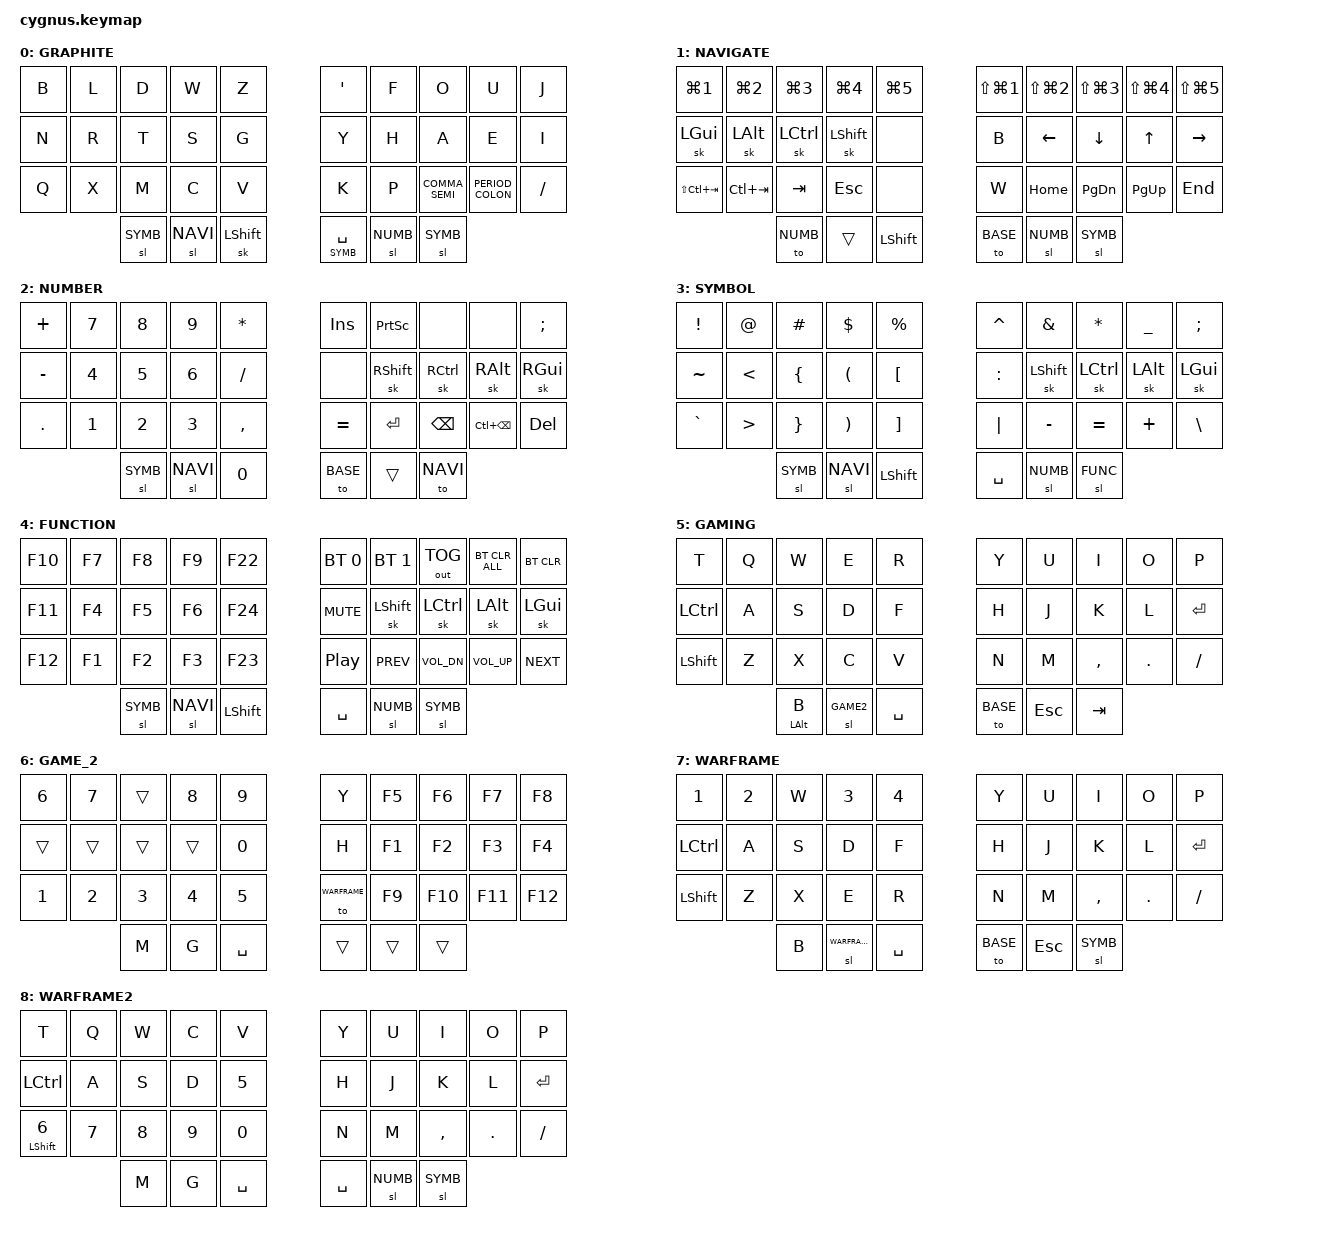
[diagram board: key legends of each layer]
#include <dt-bindings/zmk/behaviors.h>
#include <behaviors.dtsi>
#include <dt-bindings/zmk/keys.h>
#include <dt-bindings/zmk/bt.h>
#include <dt-bindings/zmk/outputs.h>

#define BASE 0
#define NAVI 1
#define NUMB 2
#define SYMB 3
#define FUNC 4
#define GAME 5 
#define GAME2 6
#define WARFRAME 7
#define WARFRAME2 8 

  // key posiitons 
  //  |    0   1   2   3   4     |   |    5   6  7   8   9  |
  //  |    10  11  12  13  14    |   |    15  16 17  18  19 |
  //  |    20  21  22  23  24    |   |    25  26 27  28  29 |
  //  |            30  31  32    |   |    33  34 35         |

/ {
 behaviors {

    COMMA_SEMI: comma_semicolon_morph {
      compatible = "zmk,behavior-mod-morph";
      #binding-cells = <0>;
      bindings = <&kp COMMA>, <&kp SEMI>;
      mods = <(MOD_LSFT|MOD_RSFT)>;
    };

    PERIOD_COLON: period_colon_morph {
      compatible = "zmk,behavior-mod-morph";
      #binding-cells = <0>;
      bindings = <&kp DOT>, <&kp COLON>;
      mods = <(MOD_LSFT|MOD_RSFT)>;
    };

  };
  

  combos {
    compatible = "zmk,combos";
      //HORIZANTAL COMBOS

    combo_reset {
      timeout-ms = <150>;
      key-positions = <0 9>;
      bindings = <&sys_reset>;
    };

    combo_bootloader {
      timeout-ms = <150>;
      key-positions = <20 29>;
      bindings = <&bootloader>;
    };

    combo_tab {
      timeout-ms = <50>;
      key-positions = <21 22>;
      bindings = <&kp TAB>;
    };

    combo_esc {
      timeout-ms = <50>;
      key-positions = <22 23>;
      bindings = <&kp ESC>;
    };

    combo_backspace {
      timeout-ms = <50>;
      key-positions = <27 28>;
      bindings = <&kp BSPC>;
    };

    combo_enter {
      timeout-ms = <50>;
      key-positions = <26 27>;
      bindings = <&kp ENTER>;
    };

    combo_semi {
      timeout-ms = <50>;
      key-positions = <26 27 28>;
      bindings = <&kp SEMI>;
    };

    combo_game {
      timeout-ms = <100>;
      key-positions = <24 25>;
      bindings = <&tog GAME>;
    };

    combo_capsword {
      timeout-ms = <100>;
      key-positions = <23 26>;
      bindings = <&caps_word>;
    };


  };

  keymap {
    compatible = "zmk,keymap";

    base_layer {
      display-name = "GRAPHITE";
      bindings = <
        &kp B  &kp L  &kp D  &kp W  &kp Z                &kp APOS  &kp F  &kp O      &kp U    &kp J
        &kp N  &kp R  &kp T  &kp S  &kp G                &kp Y     &kp H  &kp A      &kp E    &kp I 
        &kp Q  &kp X  &kp M  &kp C  &kp V                &kp K     &kp P  &COMMA_SEMI  &PERIOD_COLON  &kp SLASH   
                      &sl SYMB  &sl NAVI &sk LSHIFT    &lt SYMB SPACE  &sl NUMB  &sl SYMB
      >;
    };

    navi_layer {
      display-name = "NAVIGATE";
      bindings = <
        &kp LG(N1) &kp LG(N2) &kp LG(N3) &kp LG(N4) &kp LG(N5)       &kp LS(LG(N1)) &kp LS(LG(N2)) &kp LS(LG(N3)) &kp LS(LG(N4))  &kp LS(LG(N5))
        &sk LGUI  &sk LALT  &sk LCTRL  &sk LSHIFT   &none            &kp B     &kp LEFT  &kp DOWN  &kp UP     &kp RIGHT 
        &kp LS(LC(TAB)) &kp LC(TAB) &kp TAB &kp ESC &none            &kp W     &kp HOME  &kp PG_DN &kp PG_UP  &kp END   
                                &to NUMB  &trans   &kp LSHIFT    &to BASE  &sl NUMB  &sl SYMB
      >;
    };


    numb_layer {
      display-name = "NUMBER";
      bindings = <
        &kp PLUS  &kp N7  &kp N8  &kp N9  &kp STAR             &kp INSERT &kp PSCRN      &none     &none     &kp SEMI  
        &kp MINUS &kp N4  &kp N5  &kp N6  &kp SLASH            &none     &sk RSHIFT &sk RCTRL &sk RALT  &sk RGUI  
        &kp DOT   &kp N1  &kp N2  &kp N3  &kp COMMA            &kp EQUAL &kp ENTER  &kp BSPC  &kp LC(BSPC)  &kp DEL
                          &sl SYMB  &sl NAVI  &kp N0        &to BASE  &trans  &to NAVI
      >;
    };


    symb_layer {
      display-name = "SYMBOL";
     bindings = <
        &kp EXCL  &kp AT &kp HASH &kp DLLR &kp PERCENT             &kp CARET  &kp AMPS    &kp STAR   &kp UNDER  &kp SEMI
        &kp TILDE &kp LT &kp LBRC &kp LPAR &kp LBKT                &kp COLON  &sk LSHIFT  &sk LCTRL  &sk LALT   &sk LGUI 
        &kp GRAVE &kp GT &kp RBRC &kp RPAR &kp RBKT                &kp PIPE   &kp MINUS   &kp EQUAL  &kp PLUS   &kp BACKSLASH   
                          &sl SYMB  &sl NAVI  &kp LSHIFT    &kp SPACE  &sl NUMB   &sl FUNC
      >;
    };

    func_layer {
      display-name = "FUNCTION";
      bindings = <
        &kp F10 &kp F7 &kp F8 &kp F9 &kp F22                &bt BT_SEL 0 &bt BT_SEL 1  &out OUT_TOG &bt BT_CLR_ALL &bt BT_CLR
        &kp F11 &kp F4 &kp F5 &kp F6 &kp F24                &kp C_MUTE &sk LSHIFT &sk LCTRL    &sk LALT &sk LGUI 
        &kp F12 &kp F1 &kp F2 &kp F3 &kp F23                &kp C_PP   &kp C_PREV &kp C_VOL_DN &kp C_VOL_UP &kp C_NEXT   
                          &sl SYMB  &sl NAVI  &kp LSHIFT    &kp SPACE  &sl NUMB  &sl SYMB
      >;
    };

    game_layer {
      display-name = "GAMING";
      bindings = <
        &kp T      &kp Q  &kp W  &kp E  &kp R                &kp Y     &kp U  &kp I      &kp O    &kp P
        &kp LCTRL  &kp A  &kp S  &kp D  &kp F                &kp H     &kp J  &kp K      &kp L    &kp ENTER 
        &kp LSHIFT &kp Z  &kp X  &kp C  &kp V                &kp N     &kp M  &kp COMMA  &kp DOT  &kp SLASH   
                  &mt LALT B  &sl GAME2  &kp SPACE         &to BASE  &kp ESC  &kp TAB
      >;
    };

    game2_layer {
      display-name = "GAME_2";
      bindings = <
        &kp N6  &kp N7  &trans  &kp N8 &kp N9               &kp Y        &kp F5  &kp F6   &kp F7   &kp F8
        &trans  &trans  &trans  &trans &kp N0               &kp H        &kp F1  &kp F2   &kp F3   &kp F4
        &kp N1  &kp N2  &kp N3  &kp N4 &kp N5               &to WARFRAME &kp F9  &kp F10  &kp F11  &kp F12
                        &kp M &kp G   &kp SPACE           &trans   &trans  &trans
      >;
    };

    wf_layer {
      display-name = "WARFRAME";
      bindings = <
        &kp N1     &kp N2 &kp W  &kp N3 &kp N4                &kp Y     &kp U  &kp I      &kp O    &kp P
        &kp LCTRL  &kp A  &kp S  &kp D  &kp F                 &kp H     &kp J  &kp K      &kp L    &kp ENTER 
        &kp LSHIFT &kp Z  &kp X  &kp E  &kp R                 &kp N     &kp M  &kp COMMA  &kp DOT  &kp SLASH   
                        &kp B  &sl WARFRAME2 &kp SPACE         &to BASE  &kp ESC  &sl SYMB
      >;
    };

    wf2_layer {
      display-name = "WARFRAME2";
      bindings = <
        &kp T         &kp Q   &kp W  &kp C &kp V               &kp Y     &kp U  &kp I      &kp O    &kp P
        &kp LCTRL  &kp A   &kp S  &kp D &kp N5               &kp H     &kp J  &kp K      &kp L    &kp ENTER
        &mt LSHIFT N6 &kp N7  &kp N8 &kp N9 &kp N0                    &kp N     &kp M  &kp COMMA  &kp DOT  &kp SLASH  
                        &kp M &kp G   &kp SPACE              &kp SPACE  &sl NUMB  &sl SYMB
      >;
    };

  };

};
